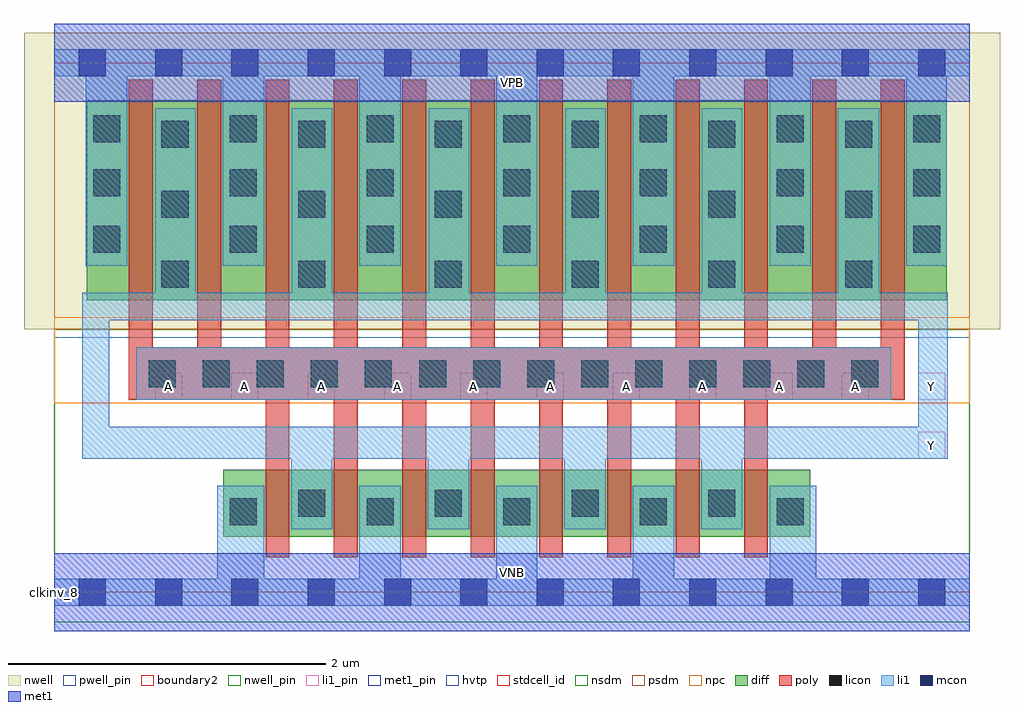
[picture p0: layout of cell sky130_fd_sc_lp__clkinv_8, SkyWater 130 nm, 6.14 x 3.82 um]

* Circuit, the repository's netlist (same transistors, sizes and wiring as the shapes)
* Copyright 2020 The SkyWater PDK Authors
*
* Licensed under the Apache License, Version 2.0 (the "License");
* you may not use this file except in compliance with the License.
* You may obtain a copy of the License at
*
*     https://www.apache.org/licenses/LICENSE-2.0
*
* Unless required by applicable law or agreed to in writing, software
* distributed under the License is distributed on an "AS IS" BASIS,
* WITHOUT WARRANTIES OR CONDITIONS OF ANY KIND, either express or implied.
* See the License for the specific language governing permissions and
* limitations under the License.
*
* SPDX-License-Identifier: Apache-2.0

.SUBCKT sky130_fd_sc_lp__clkinv_8 A VGND VNB VPB VPWR Y
*.PININFO A:I VGND:I VNB:I VPB:I VPWR:I Y:O
MMIN0 Y A VGND VNB sky130_fd_pr__nfet_01v8 m=8 w=0.42U l=0.15U mult=1 sa=0.265
+ sb=0.265 sd=0.28 area=0.063 perim=1.14
MMIP0 Y A VPWR VPB sky130_fd_pr__pfet_01v8_hvt m=12 w=1.26U l=0.15U mult=1 sa=0.265
+ sb=0.265 sd=0.28 area=0.063 perim=1.14
.ENDS sky130_fd_sc_lp__clkinv_8

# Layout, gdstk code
import gdstk
lib = gdstk.Library(unit=1e-6, precision=1e-09)
def R(c, l, rs):  # rectangles x0, y0, x1, y1
    for r in rs: c.add(gdstk.rectangle(r[:2], r[2:], *l))
def A(c, l, x, y, w, h, nx, ny, dx, dy):  # array of equal rectangles
    R(c, l, [(x+i*dx, y+j*dy, x+i*dx+w, y+j*dy+h) for i in range(nx) for j in range(ny)])
def P(c, l, *ps):  # polygons
    for p in ps: c.add(gdstk.Polygon(p, *l))
nwell_pin = (64, 16)
nwell = (64, 20)
diff = (65, 20)
poly = (66, 20)
licon = (66, 44)
li1_pin = (67, 16)
li1 = (67, 20)
mcon = (67, 44)
met1_pin = (68, 16)
met1 = (68, 20)
hvtp = (78, 44)
stdcell_id = (81, 4)
nsdm = (93, 44)
psdm = (94, 20)
npc = (95, 20)
pwell_pin = (122, 16)
boundary2 = (236, 0)

sky130_fd_sc_lp__clkinv_ = lib.new_cell('sky130_fd_sc_lp__clkinv_8')
R(sky130_fd_sc_lp__clkinv_, nwell_pin, [(0,3.085,5.76,3.33)])
R(sky130_fd_sc_lp__clkinv_, nwell, [(-0.19,1.655,5.95,3.52)])
R(sky130_fd_sc_lp__clkinv_, diff, [(1.065,0.35,4.755,0.77), (0.205,1.835,5.615,3.095)])
P(sky130_fd_sc_lp__clkinv_, poly, [(5.35,3.225),(5.2,3.225),(5.2,1.54),(4.92,1.54),(4.92,3.225),(4.77,3.225),(4.77,1.54),(4.49,1.54),(4.49,3.225),(4.34,3.225),(4.34,1.54),(4.06,1.54),(4.06,3.225),(3.91,3.225),(3.91,1.54),(3.63,1.54),(3.63,3.225),(3.48,3.225),(3.48,1.54),(3.2,1.54),(3.2,3.225),(3.05,3.225),(3.05,1.54),(2.77,1.54),(2.77,3.225),(2.62,3.225),(2.62,1.54),(2.34,1.54),(2.34,3.225),(2.19,3.225),(2.19,1.54),(1.91,1.54),(1.91,3.225),(1.76,3.225),(1.76,1.54),(1.48,1.54),(1.48,3.225),(1.33,3.225),(1.33,1.54),(1.05,1.54),(1.05,3.225),(0.9,3.225),(0.9,1.54),(0.62,1.54),(0.62,3.225),(0.47,3.225),(0.47,1.21),(1.33,1.21),(1.33,0.22),(1.48,0.22),(1.48,1.21),(1.76,1.21),(1.76,0.22),(1.91,0.22),(1.91,1.21),(2.19,1.21),(2.19,0.22),(2.34,0.22),(2.34,1.21),(2.62,1.21),(2.62,0.22),(2.77,0.22),(2.77,1.21),(3.05,1.21),(3.05,0.22),(3.2,0.22),(3.2,1.21),(3.48,1.21),(3.48,0.22),(3.63,0.22),(3.63,1.21),(3.91,1.21),(3.91,0.22),(4.06,0.22),(4.06,1.21),(4.34,1.21),(4.34,0.22),(4.49,0.22),(4.49,1.21),(5.35,1.21)])
A(sky130_fd_sc_lp__clkinv_, licon, 1.105, 0.42, 0.17, 0.17, 5, 1, 0.86, 0)
A(sky130_fd_sc_lp__clkinv_, licon, 1.535, 0.475, 0.17, 0.17, 4, 1, 0.86, 0)
A(sky130_fd_sc_lp__clkinv_, licon, 0.595, 1.29, 0.17, 0.17, 14, 1, 0.34, 0)
A(sky130_fd_sc_lp__clkinv_, licon, 0.675, 1.915, 0.17, 0.17, 6, 3, 0.86, 0.44)
A(sky130_fd_sc_lp__clkinv_, licon, 0.245, 2.135, 0.17, 0.17, 7, 2, 0.86, 0.355)
A(sky130_fd_sc_lp__clkinv_, licon, 0.245, 2.83, 0.17, 0.17, 7, 1, 0.86, 0)
A(sky130_fd_sc_lp__clkinv_, li1_pin, 0.635, 1.21, 0.17, 0.17, 11, 1, 0.48, 0)
R(sky130_fd_sc_lp__clkinv_, li1_pin, [(5.435,0.84,5.605,1.01)])
R(sky130_fd_sc_lp__clkinv_, li1, [(0.515,1.21,5.265,1.54)])
P(sky130_fd_sc_lp__clkinv_, li1, [(5.76,0.085),(4.795,0.085),(4.795,0.67),(4.5,0.67),(4.5,0.085),(3.9,0.085),(3.9,0.67),(3.64,0.67),(3.64,0.085),(3.04,0.085),(3.04,0.67),(2.78,0.67),(2.78,0.085),(2.18,0.085),(2.18,0.67),(1.92,0.67),(1.92,0.085),(1.32,0.085),(1.32,0.67),(1.025,0.67),(1.025,0.085),(0,0.085),(0,-0.085),(5.76,-0.085)],
  [(5.62,1.885),(5.435,1.885),(5.435,1.04),(0.345,1.04),(0.345,1.71),(5.435,1.71),(5.435,1.885),(5.19,1.885),(5.19,3.045),(4.93,3.045),(4.93,1.885),(4.33,1.885),(4.33,3.045),(4.075,3.045),(4.075,1.885),(3.47,1.885),(3.47,3.045),(3.215,3.045),(3.215,1.885),(2.61,1.885),(2.61,3.045),(2.355,3.045),(2.355,1.885),(1.75,1.885),(1.75,3.045),(1.495,3.045),(1.495,1.885),(0.89,1.885),(0.89,3.045),(0.635,3.045),(0.635,1.885),(0.175,1.885),(0.175,0.84),(1.49,0.84),(1.49,0.395),(1.75,0.395),(1.75,0.84),(2.35,0.84),(2.35,0.395),(2.61,0.395),(2.61,0.84),(3.21,0.84),(3.21,0.395),(3.47,0.395),(3.47,0.84),(4.07,0.84),(4.07,0.395),(4.33,0.395),(4.33,0.84),(5.62,0.84)],
  [(5.76,3.415),(0,3.415),(0,3.245),(0.2,3.245),(0.2,2.055),(0.46,2.055),(0.46,3.245),(1.06,3.245),(1.06,2.055),(1.32,2.055),(1.32,3.245),(1.92,3.245),(1.92,2.055),(2.18,2.055),(2.18,3.245),(2.78,3.245),(2.78,2.055),(3.04,2.055),(3.04,3.245),(3.64,3.245),(3.64,2.055),(3.9,2.055),(3.9,3.245),(4.5,3.245),(4.5,2.055),(4.76,2.055),(4.76,3.245),(5.36,3.245),(5.36,2.055),(5.615,2.055),(5.615,3.245),(5.76,3.245)])
A(sky130_fd_sc_lp__clkinv_, mcon, 0.155, -0.085, 0.17, 0.17, 12, 2, 0.48, 3.33)
R(sky130_fd_sc_lp__clkinv_, met1_pin, [(0,0,5.76,0.245), (0,3.085,5.76,3.33)])
R(sky130_fd_sc_lp__clkinv_, met1, [(0,-0.245,5.76,0.245), (0,3.085,5.76,3.575)])
R(sky130_fd_sc_lp__clkinv_, hvtp, [(0,1.6,5.76,3.33)])
R(sky130_fd_sc_lp__clkinv_, stdcell_id, [(0,0,5.76,3.33)])
R(sky130_fd_sc_lp__clkinv_, nsdm, [(0,-0.19,5.76,1.655)])
R(sky130_fd_sc_lp__clkinv_, psdm, [(0,1.655,5.76,3.52)])
R(sky130_fd_sc_lp__clkinv_, npc, [(0,1.19,5.76,1.73)])
R(sky130_fd_sc_lp__clkinv_, pwell_pin, [(0,0,5.76,0.245)])
R(sky130_fd_sc_lp__clkinv_, boundary2, [(0,0,5.76,3.33)])
sky130_fd_sc_lp__clkinv_.add(gdstk.Label('VNB', (2.88,0.123), layer=64, texttype=59))
sky130_fd_sc_lp__clkinv_.add(gdstk.Label('VPB', (2.88,3.208), layer=64, texttype=5))
sky130_fd_sc_lp__clkinv_.add(gdstk.Label('clkinv_8', (0,0), layer=83, texttype=44))
sky130_fd_sc_lp__clkinv_.add(gdstk.Label('VPWR', (2.88,3.208), layer=68, texttype=5))
sky130_fd_sc_lp__clkinv_.add(gdstk.Label('VGND', (2.88,0.123), layer=68, texttype=5))
sky130_fd_sc_lp__clkinv_.add(gdstk.Label('A', (4.56,1.295), layer=67, texttype=5))
sky130_fd_sc_lp__clkinv_.add(gdstk.Label('A', (5.04,1.295), layer=67, texttype=5))
sky130_fd_sc_lp__clkinv_.add(gdstk.Label('Y', (5.52,0.925), layer=67, texttype=5))
sky130_fd_sc_lp__clkinv_.add(gdstk.Label('Y', (5.52,1.295), layer=67, texttype=5))
sky130_fd_sc_lp__clkinv_.add(gdstk.Label('A', (3.12,1.295), layer=67, texttype=5))
sky130_fd_sc_lp__clkinv_.add(gdstk.Label('A', (4.08,1.295), layer=67, texttype=5))
sky130_fd_sc_lp__clkinv_.add(gdstk.Label('A', (3.6,1.295), layer=67, texttype=5))
sky130_fd_sc_lp__clkinv_.add(gdstk.Label('A', (0.72,1.295), layer=67, texttype=5))
sky130_fd_sc_lp__clkinv_.add(gdstk.Label('A', (1.68,1.295), layer=67, texttype=5))
sky130_fd_sc_lp__clkinv_.add(gdstk.Label('A', (1.2,1.295), layer=67, texttype=5))
sky130_fd_sc_lp__clkinv_.add(gdstk.Label('A', (2.16,1.295), layer=67, texttype=5))
sky130_fd_sc_lp__clkinv_.add(gdstk.Label('A', (2.64,1.295), layer=67, texttype=5))

lib.write_gds('sky130_fd_sc_lp__clkinv_8.gds')
